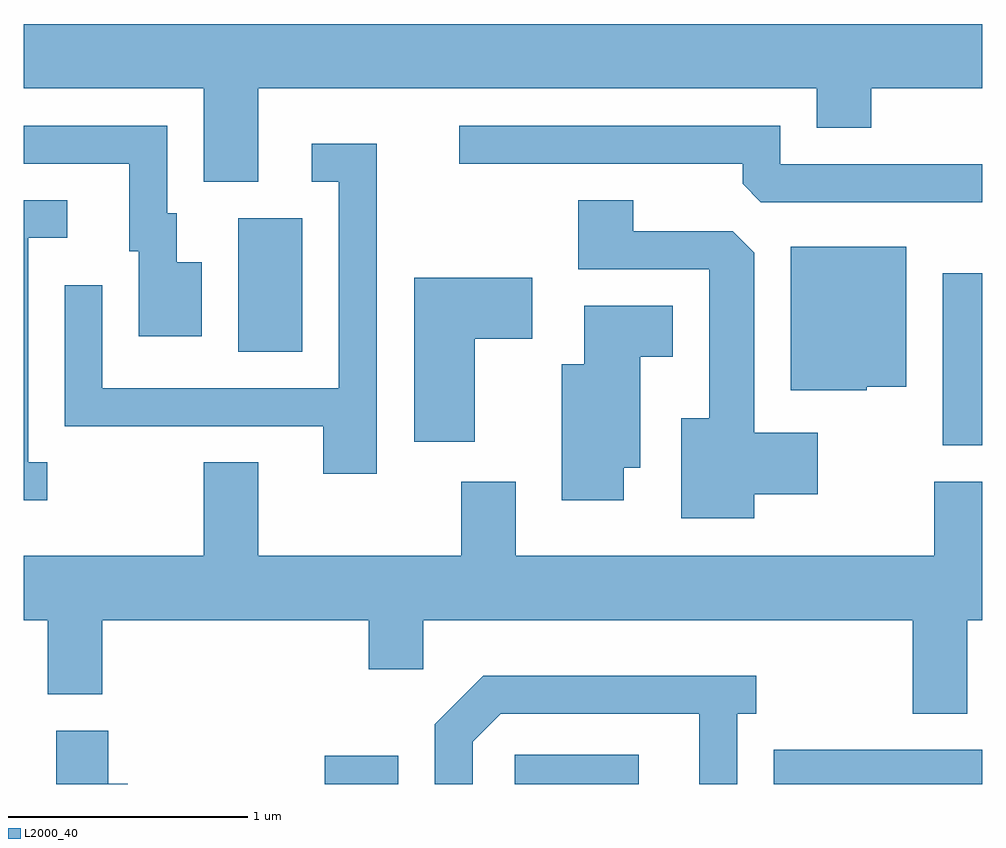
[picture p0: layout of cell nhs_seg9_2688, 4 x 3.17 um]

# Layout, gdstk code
import gdstk
lib = gdstk.Library(unit=1e-6, precision=1e-09)
def R(c, l, rs):  # rectangles x0, y0, x1, y1
    for r in rs: c.add(gdstk.rectangle(r[:2], r[2:], *l))
def P(c, l, *ps):  # polygons
    for p in ps: c.add(gdstk.Polygon(p, *l))
L2000_40 = (2000, 40)

nhs_seg9_2688 = lib.new_cell('nhs_seg9_2688')
R(nhs_seg9_2688, L2000_40, [(264.866,2024.432,265.174,2024.549), (265.661,2024.432,266.178,2024.554), (266.741,2024.432,267.611,2024.574), (267.446,2025.846,267.611,2026.564), (264.506,2026.236,264.774,2026.794)])
P(nhs_seg9_2688, L2000_40, [(264.589,2027.336),(266.921,2027.336),(266.921,2027.171),(267.149,2027.171),(267.149,2027.336),(267.611,2027.336),(267.611,2027.604),(263.611,2027.604),(263.611,2027.336),(264.361,2027.336),(264.361,2026.946),(264.589,2026.946)],
  [(264.354,2026.609),(264.249,2026.609),(264.249,2026.814),(264.209,2026.814),(264.209,2027.179),(263.611,2027.179),(263.611,2027.021),(264.051,2027.021),(264.051,2026.656),(264.091,2026.656),(264.091,2026.301),(264.354,2026.301)],
  [(267.611,2027.019),(266.769,2027.019),(266.769,2027.179),(265.428,2027.179),(265.428,2027.021),(266.611,2027.021),(266.611,2026.937),(266.687,2026.861),(267.611,2026.861)],
  [(265.084,2027.104),(264.813,2027.104),(264.813,2026.946),(264.926,2026.946),(264.926,2026.084),(263.939,2026.084),(263.939,2026.513),(263.781,2026.513),(263.781,2025.926),(264.861,2025.926),(264.861,2025.726),(265.084,2025.726)],
  [(263.708,2025.774),(263.629,2025.774),(263.629,2026.711),(263.793,2026.711),(263.793,2026.869),(263.611,2026.869),(263.611,2025.616),(263.708,2025.616)],
  [(266.659,2025.641),(266.924,2025.641),(266.924,2025.899),(266.659,2025.899),(266.659,2026.649),(266.569,2026.739),(266.154,2026.739),(266.154,2026.869),(265.926,2026.869),(265.926,2026.581),(266.471,2026.581),(266.471,2025.959),(266.356,2025.959),(266.356,2025.541),(266.659,2025.541)],
  [(267.13,2026.091),(267.294,2026.091),(267.294,2026.674),(266.811,2026.674),(266.811,2026.076),(267.13,2026.076)],
  [(265.494,2026.291),(265.734,2026.291),(265.734,2026.544),(265.241,2026.544),(265.241,2025.861),(265.494,2025.861)],
  [(266.114,2025.751),(266.184,2025.751),(266.184,2026.216),(266.319,2026.216),(266.319,2026.429),(265.951,2026.429),(265.951,2026.184),(265.856,2026.184),(265.856,2025.616),(266.114,2025.616)],
  [(267.549,2025.116),(267.611,2025.116),(267.611,2025.694),(267.411,2025.694),(267.411,2025.384),(265.664,2025.384),(265.664,2025.694),(265.436,2025.694),(265.436,2025.384),(264.589,2025.384),(264.589,2025.774),(264.361,2025.774),(264.361,2025.384),(263.611,2025.384),(263.611,2025.116),(263.711,2025.116),(263.711,2024.806),(263.939,2024.806),(263.939,2025.116),(265.051,2025.116),(265.051,2024.911),(265.279,2024.911),(265.279,2025.116),(267.321,2025.116),(267.321,2024.726),(267.549,2024.726)],
  [(265.484,2024.609),(265.602,2024.726),(266.431,2024.726),(266.431,2024.432),(266.589,2024.432),(266.589,2024.726),(266.668,2024.726),(266.668,2024.884),(265.529,2024.884),(265.326,2024.682),(265.326,2024.432),(265.484,2024.432)],
  [(264.044,2024.434),(263.964,2024.434),(263.964,2024.654),(263.746,2024.654),(263.746,2024.432),(264.044,2024.432)])

lib.write_gds('nhs_seg9_2688.gds')
